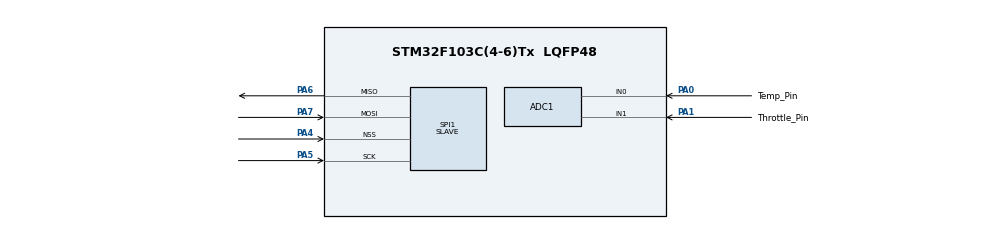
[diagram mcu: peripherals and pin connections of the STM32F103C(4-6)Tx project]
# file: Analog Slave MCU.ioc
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ADC1.Channel-2\#ChannelRegularConversion=ADC_CHANNEL_0
ADC1.DiscontinuousConvMode=DISABLE
ADC1.EnableRegularConversion=ENABLE
ADC1.NbrOfConversion=1
ADC1.NbrOfConversionFlag=1
ADC1.Rank-2\#ChannelRegularConversion=1
ADC1.SamplingTime-2\#ChannelRegularConversion=ADC_SAMPLETIME_7CYCLES_5
ADC1.master=1
Mcu.Family=STM32F1
Mcu.Name=STM32F103C(4-6)Tx
Mcu.Package=LQFP48
NVIC.PriorityGroup=NVIC_PRIORITYGROUP_4
PA0-WKUP.GPIO_Label=Temp_Pin
PA0-WKUP.Signal=ADCx_IN0
PA1.GPIO_Label=Throttle_Pin
PA1.Signal=ADCx_IN1
PA4.Mode=NSS_Signal_Hard_Input
PA4.Signal=SPI1_NSS
PA5.Mode=Full_Duplex_Slave
PA5.Signal=SPI1_SCK
PA6.Mode=Full_Duplex_Slave
PA6.Signal=SPI1_MISO
PA7.Mode=Full_Duplex_Slave
PA7.Signal=SPI1_MOSI
ProjectManager.HeapSize=0x200
ProjectManager.StackSize=0x400
ProjectManager.TargetToolchain=STM32CubeIDE
RCC.APB1Freq_Value=8000000
RCC.APB2Freq_Value=8000000
SH.ADCx_IN0.0=ADC1_IN0,IN0
SH.ADCx_IN1.0=ADC1_IN1,IN1
SPI1.Direction=SPI_DIRECTION_2LINES
SPI1.Mode=SPI_MODE_SLAVE
SPI1.VirtualNSS=VM_NSSHARD
SPI1.VirtualType=VM_SLAVE
VP_SYS_VS_ND.Mode=No_Debug
board=custom

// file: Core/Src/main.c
/* USER CODE BEGIN Header */
/**
  ******************************************************************************
  * @file           : main.c
  * @brief          : Main program body
  ******************************************************************************
  * @attention
  *
  * Copyright (c) 2025 STMicroelectronics.
  * All rights reserved.
  *
  * This software is licensed under terms that can be found in the LICENSE file
  * in the root directory of this software component.
  * If no LICENSE file comes with this software, it is provided AS-IS.
  *
  ******************************************************************************
  */
/* USER CODE END Header */
#include "main.h"

/* USER CODE BEGIN Includes */
#include <stdio.h>
#include <string.h>
/* USER CODE END Includes */

ADC_HandleTypeDef hadc1;

SPI_HandleTypeDef hspi1;

/* USER CODE BEGIN PV */

// Two structs for the ADC Pins
ADC_ChannelConfTypeDef Temp_Pin;
ADC_ChannelConfTypeDef Throttle_Pin;

// Encoded Readings
uint16_t analog_temp;
uint16_t throttle;
uint16_t ID;
uint8_t analog_throttle;

// SPI buffers
uint8_t send_receive_buffer[8];
uint8_t SPI_Junk[8];

/* USER CODE END PV */

void SystemClock_Config(void);
static void MX_GPIO_Init(void);
static void MX_ADC1_Init(void);
static void MX_SPI1_Init(void);

int main(void)
{

  /* USER CODE BEGIN 1 */
	// initializing the Temp pin holder
	Temp_Pin.Channel = ADC_CHANNEL_0;
	Temp_Pin.Rank = ADC_REGULAR_RANK_1;
	Temp_Pin.SamplingTime = ADC_SAMPLETIME_7CYCLES_5;
	// initializing the Throttle pin holder
	Throttle_Pin.Channel = ADC_CHANNEL_1;
	Throttle_Pin.Rank = ADC_REGULAR_RANK_1;
	Throttle_Pin.SamplingTime = ADC_SAMPLETIME_7CYCLES_5;
  /* USER CODE END 1 */

  /* MCU Configuration--------------------------------------------------------*/

  /* Reset of all peripherals, Initializes the Flash interface and the Systick. */
  HAL_Init();

  /* Configure the system clock */
  SystemClock_Config();

  /* Initialize all configured peripherals */
  MX_GPIO_Init();
  MX_ADC1_Init();
  MX_SPI1_Init();
  /* USER CODE BEGIN 2 */
  // NSS Hardware Signal configuration
  hspi1.Init.NSS = SPI_NSS_HARD_INPUT;
  // #Page: 450 Chapter 35 HAL SPI Generic Driver
  HAL_SPI_Init(&hspi1);
  /* USER CODE END 2 */

  /* Infinite loop */
  /* USER CODE BEGIN WHILE */
  while (1)
  {
	  // Getting rid of the junk
	  memset(SPI_Junk, 0, sizeof(SPI_Junk));
	  // SPI for triggering analog signals reading and waiting to transmit them
	  // #Page: 452 Chapter 35 HAL SPI Generic Driver
	  HAL_SPI_TransmitReceive(&hspi1, send_receive_buffer, SPI_Junk, 8, HAL_MAX_DELAY);
	  ID = (SPI_Junk[0] << 8) | SPI_Junk[1];

	  // Temperature pin reading process
	  // #Page: 68 Chapter 6 HAL System Driver
	  HAL_ADC_ConfigChannel(&hadc1, &Temp_Pin);
	  // #Page: 64 Chapter 6 HAL System Driver
	  HAL_ADC_Start(&hadc1);
	  // #Page: 64 Chapter 6 HAL System Driver
	  HAL_ADC_PollForConversion(&hadc1, 10);
	  // #Page: 66 Chapter 6 HAL System Driver
	  analog_temp = HAL_ADC_GetValue(&hadc1);
	  // #Page: 64 Chapter 6 HAL System Driver
	  HAL_ADC_Stop(&hadc1);

	  // #Page: 50 Chapter 6 HAL System Driver
	  HAL_Delay(1);

	  // Throttle pin reading process
	  // #Page: 68 Chapter 6 HAL System Driver
	  HAL_ADC_ConfigChannel(&hadc1, &Throttle_Pin);
	  // #Page: 64 Chapter 6 HAL System Driver
	  HAL_ADC_Start(&hadc1);
	  // #Page: 68 Chapter 6 HAL System Driver
	  HAL_ADC_PollForConversion(&hadc1, 10);
	  // #Page: 66 Chapter 6 HAL System Driver
	  throttle = HAL_ADC_GetValue(&hadc1);
	  // #Page: 64 Chapter 6 HAL System Driver
	  HAL_ADC_Stop(&hadc1);

	  // Data encoding
	  analog_throttle = (throttle >> 4) &0xFF;
	  send_receive_buffer[0] = (ID >> 8) & 0xFF;
	  send_receive_buffer[1] = ID & 0xFF;
	  send_receive_buffer[2] = analog_temp >> 4;
	  send_receive_buffer[3] = (analog_temp << 8) | (analog_throttle >> 4);
	  send_receive_buffer[4] = (analog_throttle << 4) & 0xF0;
	  send_receive_buffer[5] = 0x00;
	  send_receive_buffer[6] = 0x00;
	  send_receive_buffer[7] = 0x00;
    /* USER CODE END WHILE */

  }
}

void SystemClock_Config(void)
{
  RCC_OscInitTypeDef RCC_OscInitStruct = {0};
  RCC_ClkInitTypeDef RCC_ClkInitStruct = {0};
  RCC_PeriphCLKInitTypeDef PeriphClkInit = {0};

  /** Initializes the RCC Oscillators according to the specified parameters
  * in the RCC_OscInitTypeDef structure.
  */
  RCC_OscInitStruct.OscillatorType = RCC_OSCILLATORTYPE_HSI;
  RCC_OscInitStruct.HSIState = RCC_HSI_ON;
  RCC_OscInitStruct.HSICalibrationValue = RCC_HSICALIBRATION_DEFAULT;
  RCC_OscInitStruct.PLL.PLLState = RCC_PLL_NONE;
  if (HAL_RCC_OscConfig(&RCC_OscInitStruct) != HAL_OK)
  {
    Error_Handler();
  }

  /** Initializes the CPU, AHB and APB buses clocks
  */
  RCC_ClkInitStruct.ClockType = RCC_CLOCKTYPE_HCLK|RCC_CLOCKTYPE_SYSCLK
                              |RCC_CLOCKTYPE_PCLK1|RCC_CLOCKTYPE_PCLK2;
  RCC_ClkInitStruct.SYSCLKSource = RCC_SYSCLKSOURCE_HSI;
  RCC_ClkInitStruct.AHBCLKDivider = RCC_SYSCLK_DIV1;
  RCC_ClkInitStruct.APB1CLKDivider = RCC_HCLK_DIV1;
  RCC_ClkInitStruct.APB2CLKDivider = RCC_HCLK_DIV1;

  if (HAL_RCC_ClockConfig(&RCC_ClkInitStruct, FLASH_LATENCY_0) != HAL_OK)
  {
    Error_Handler();
  }
  PeriphClkInit.PeriphClockSelection = RCC_PERIPHCLK_ADC;
  PeriphClkInit.AdcClockSelection = RCC_ADCPCLK2_DIV2;
  if (HAL_RCCEx_PeriphCLKConfig(&PeriphClkInit) != HAL_OK)
  {
    Error_Handler();
  }
}

static void MX_ADC1_Init(void)
{

  ADC_ChannelConfTypeDef sConfig = {0};

  /** Common config
  */
  hadc1.Instance = ADC1;
  hadc1.Init.ScanConvMode = ADC_SCAN_DISABLE;
  hadc1.Init.ContinuousConvMode = DISABLE;
  hadc1.Init.DiscontinuousConvMode = DISABLE;
  hadc1.Init.ExternalTrigConv = ADC_SOFTWARE_START;
  hadc1.Init.DataAlign = ADC_DATAALIGN_RIGHT;
  hadc1.Init.NbrOfConversion = 1;
  if (HAL_ADC_Init(&hadc1) != HAL_OK)
  {
    Error_Handler();
  }

  /** Configure Regular Channel
  */
  sConfig.Channel = ADC_CHANNEL_0;
  sConfig.Rank = ADC_REGULAR_RANK_1;
  sConfig.SamplingTime = ADC_SAMPLETIME_7CYCLES_5;
  if (HAL_ADC_ConfigChannel(&hadc1, &sConfig) != HAL_OK)
  {
    Error_Handler();
  }

}

static void MX_SPI1_Init(void)
{

  /* SPI1 parameter configuration*/
  hspi1.Instance = SPI1;
  hspi1.Init.Mode = SPI_MODE_SLAVE;
  hspi1.Init.Direction = SPI_DIRECTION_2LINES;
  hspi1.Init.DataSize = SPI_DATASIZE_8BIT;
  hspi1.Init.CLKPolarity = SPI_POLARITY_LOW;
  hspi1.Init.CLKPhase = SPI_PHASE_1EDGE;
  hspi1.Init.NSS = SPI_NSS_HARD_INPUT;
  hspi1.Init.FirstBit = SPI_FIRSTBIT_MSB;
  hspi1.Init.TIMode = SPI_TIMODE_DISABLE;
  hspi1.Init.CRCCalculation = SPI_CRCCALCULATION_DISABLE;
  hspi1.Init.CRCPolynomial = 10;
  if (HAL_SPI_Init(&hspi1) != HAL_OK)
  {
    Error_Handler();
  }

}

static void MX_GPIO_Init(void)
{

  /* GPIO Ports Clock Enable */
  __HAL_RCC_GPIOA_CLK_ENABLE();

}

void Error_Handler(void)
{
  __disable_irq();
  while (1)
  {
  }
}
